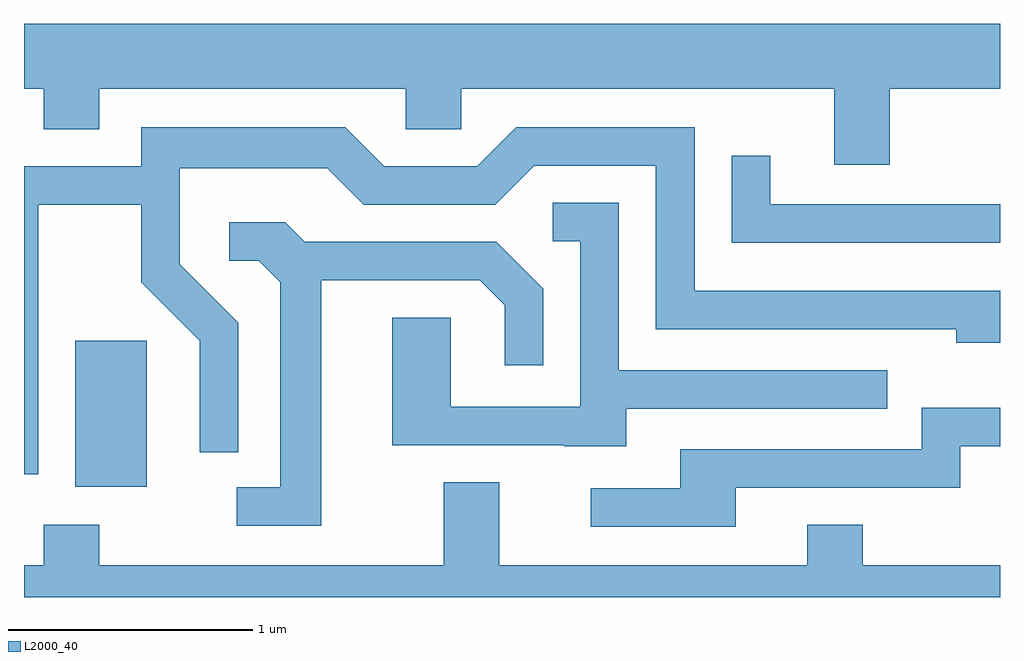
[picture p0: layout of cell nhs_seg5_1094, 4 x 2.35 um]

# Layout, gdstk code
import gdstk
lib = gdstk.Library(unit=1e-6, precision=1e-09)
def R(c, l, rs):  # rectangles x0, y0, x1, y1
    for r in rs: c.add(gdstk.rectangle(r[:2], r[2:], *l))
def P(c, l, *ps):  # polygons
    for p in ps: c.add(gdstk.Polygon(p, *l))
L2000_40 = (2000, 40)

nhs_seg5_1094 = lib.new_cell('nhs_seg5_1094')
R(nhs_seg5_1094, L2000_40, [(217.821,1428.526,218.114,1429.124)])
P(nhs_seg5_1094, L2000_40, [(221.159,1430.156),(221.611,1430.156),(221.611,1430.424),(217.611,1430.424),(217.611,1430.156),(217.691,1430.156),(217.691,1429.991),(217.919,1429.991),(217.919,1430.156),(219.176,1430.156),(219.176,1429.991),(219.404,1429.991),(219.404,1430.156),(220.931,1430.156),(220.931,1429.846),(221.159,1429.846)],
  [(217.669,1429.681),(218.091,1429.681),(218.091,1429.364),(218.331,1429.124),(218.331,1428.668),(218.489,1428.668),(218.489,1429.197),(218.249,1429.437),(218.249,1429.831),(218.854,1429.831),(219.004,1429.681),(219.542,1429.681),(219.702,1429.841),(220.201,1429.841),(220.201,1429.171),(221.431,1429.171),(221.431,1429.116),(221.611,1429.116),(221.611,1429.329),(220.359,1429.329),(220.359,1429.999),(219.629,1429.999),(219.469,1429.839),(219.087,1429.839),(218.927,1429.999),(218.091,1429.999),(218.091,1429.839),(217.611,1429.839),(217.611,1428.576),(217.669,1428.576)],
  [(221.611,1429.684),(220.669,1429.684),(220.669,1429.883),(220.511,1429.883),(220.511,1429.526),(221.611,1429.526)],
  [(220.079,1428.846),(221.148,1428.846),(221.148,1429.004),(220.049,1429.004),(220.049,1429.689),(219.778,1429.689),(219.778,1429.531),(219.891,1429.531),(219.891,1428.854),(219.359,1428.854),(219.359,1429.219),(219.121,1429.219),(219.121,1428.696),(219.825,1428.696),(219.825,1428.691),(220.079,1428.691)],
  [(218.829,1429.371),(219.479,1429.371),(219.581,1429.269),(219.581,1429.023),(219.739,1429.023),(219.739,1429.337),(219.547,1429.529),(218.762,1429.529),(218.682,1429.609),(218.453,1429.609),(218.453,1429.451),(218.574,1429.451),(218.661,1429.364),(218.661,1428.524),(218.483,1428.524),(218.483,1428.366),(218.829,1428.366)],
  [(220.529,1428.521),(221.449,1428.521),(221.449,1428.691),(221.611,1428.691),(221.611,1428.849),(221.291,1428.849),(221.291,1428.679),(220.301,1428.679),(220.301,1428.519),(219.933,1428.519),(219.933,1428.361),(220.529,1428.361)],
  [(221.611,1428.204),(221.049,1428.204),(221.049,1428.369),(220.821,1428.369),(220.821,1428.204),(219.559,1428.204),(219.559,1428.544),(219.331,1428.544),(219.331,1428.204),(217.919,1428.204),(217.919,1428.369),(217.691,1428.369),(217.691,1428.204),(217.611,1428.204),(217.611,1428.072),(221.611,1428.072)])

lib.write_gds('nhs_seg5_1094.gds')
